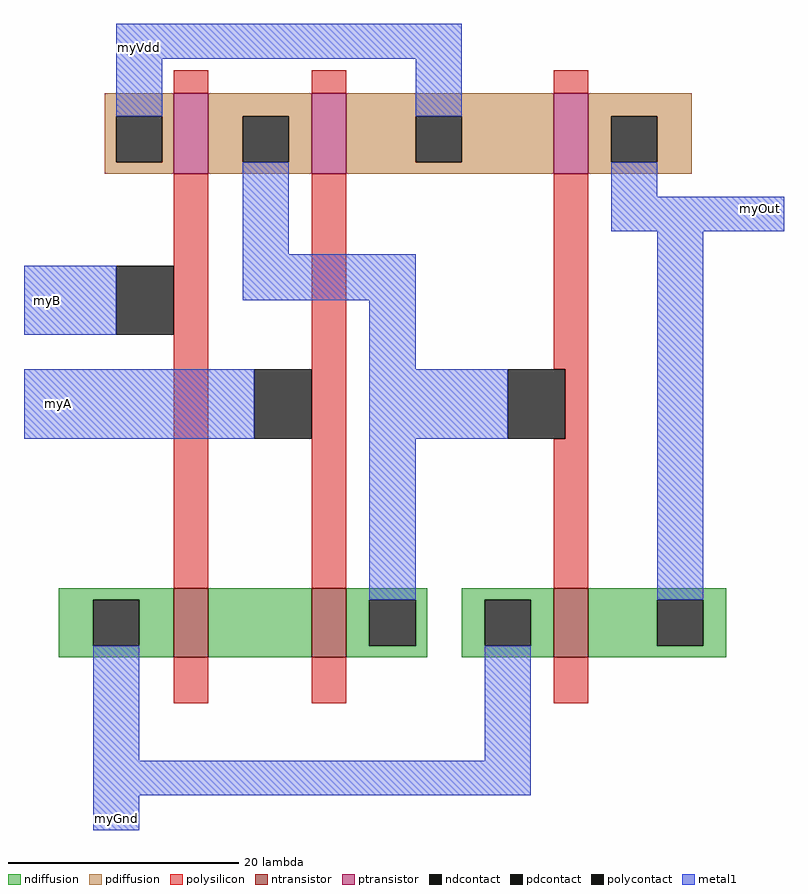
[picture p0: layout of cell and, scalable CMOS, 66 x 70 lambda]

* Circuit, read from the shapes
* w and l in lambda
.subckt and myA myB myGnd myOut myVdd
M1 n1 myB myGnd VSUBS nfet w=6 l=3
M2 n2 myA n1 VSUBS nfet w=6 l=3
M3 myOut n2 myGnd VSUBS nfet w=6 l=3
M4 n2 myB myVdd NWELL pfet w=7 l=3
M5 myVdd myA n2 NWELL pfet w=7 l=3
M6 myOut n2 myVdd NWELL pfet w=7 l=3
.ends

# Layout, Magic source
magic
tech scmos
<< polysilicon >>
rect -2 17 1 19
rect 10 17 13 19
rect 31 17 34 19
rect -2 -26 1 10
rect 10 -26 13 10
rect 31 -7 34 10
rect 32 -13 34 -7
rect 31 -26 34 -13
rect -2 -36 1 -32
rect 10 -36 13 -32
rect 31 -36 34 -32
<< ndiffusion >>
rect -12 -27 -2 -26
rect -12 -31 -9 -27
rect -5 -31 -2 -27
rect -12 -32 -2 -31
rect 1 -32 10 -26
rect 13 -27 20 -26
rect 13 -31 15 -27
rect 19 -31 20 -27
rect 13 -32 20 -31
rect 23 -27 31 -26
rect 23 -31 25 -27
rect 29 -31 31 -27
rect 23 -32 31 -31
rect 34 -27 46 -26
rect 34 -31 40 -27
rect 44 -31 46 -27
rect 34 -32 46 -31
<< pdiffusion >>
rect -8 15 -2 17
rect -8 11 -7 15
rect -3 11 -2 15
rect -8 10 -2 11
rect 1 15 10 17
rect 1 11 4 15
rect 8 11 10 15
rect 1 10 10 11
rect 13 15 31 17
rect 13 11 19 15
rect 23 11 31 15
rect 13 10 31 11
rect 34 15 43 17
rect 34 11 36 15
rect 40 11 43 15
rect 34 10 43 11
<< metal1 >>
rect -7 20 23 23
rect -7 15 -3 20
rect 19 15 23 20
rect 4 3 8 11
rect 36 8 40 11
rect 36 5 51 8
rect -15 -4 -7 2
rect 4 -1 19 3
rect 15 -7 19 -1
rect -15 -13 5 -7
rect 15 -13 27 -7
rect 15 -27 19 -13
rect 40 -27 44 5
rect -9 -41 -5 -31
rect 25 -41 29 -31
rect -9 -44 29 -41
rect -9 -47 -5 -44
<< ntransistor >>
rect -2 -32 1 -26
rect 10 -32 13 -26
rect 31 -32 34 -26
<< ptransistor >>
rect -2 10 1 17
rect 10 10 13 17
rect 31 10 34 17
<< polycontact >>
rect -7 -4 -2 2
rect 5 -13 10 -7
rect 27 -13 32 -7
<< ndcontact >>
rect -9 -31 -5 -27
rect 15 -31 19 -27
rect 25 -31 29 -27
rect 40 -31 44 -27
<< pdcontact >>
rect -7 11 -3 15
rect 4 11 8 15
rect 19 11 23 15
rect 36 11 40 15
<< labels >>
rlabel metal1 -13 -1 -13 -1 3 myB
rlabel metal1 -12 -10 -12 -10 3 myA
rlabel metal1 -5 21 -5 21 5 myVdd
rlabel metal1 49 7 49 7 7 myOut
rlabel metal1 -7 -46 -7 -46 1 myGnd
<< end >>
